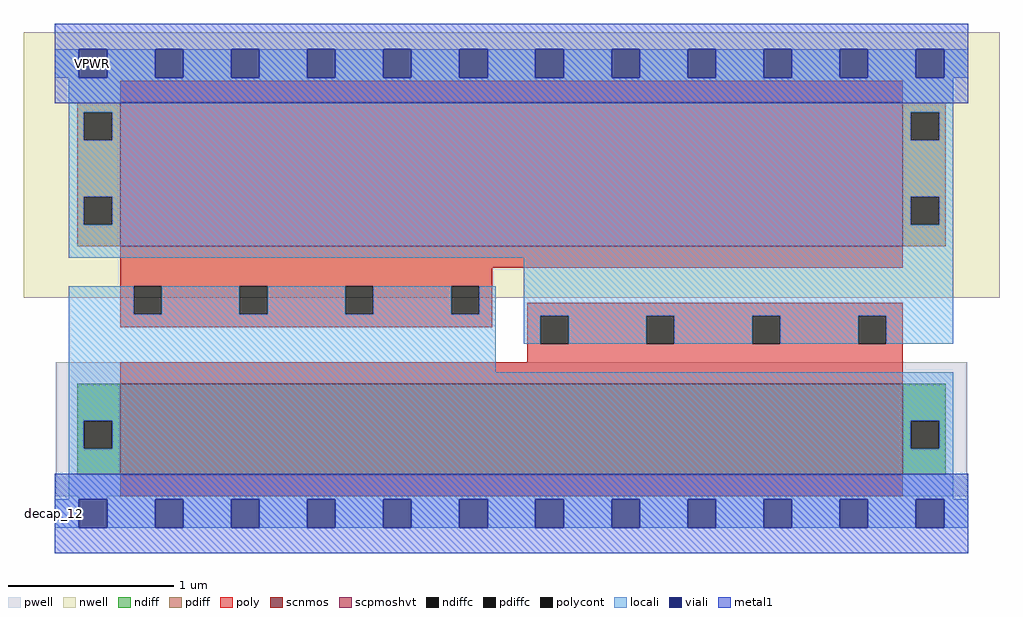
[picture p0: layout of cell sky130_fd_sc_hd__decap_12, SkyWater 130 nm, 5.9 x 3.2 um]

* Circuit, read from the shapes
.subckt sky130_fd_sc_hd__decap_12 VGND VPWR VPB VNB
XM1 VGND VPWR VGND VNB sky130_fd_pr__nfet_01v8 w=0.55 l=4.73
XM2 VPWR VGND VPWR VPB sky130_fd_pr__pfet_01v8_hvt w=0.87 l=4.73
.ends

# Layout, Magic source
magic
tech sky130B
magscale 1 2
<< nwell >>
rect -38 221 1142 542
<< pwell >>
rect 1 -19 1103 143
rect 29 -57 63 -19
<< scnmos >>
rect 79 7 1025 117
<< scpmoshvt >>
rect 79 283 1025 457
<< ndiff >>
rect 27 72 79 117
rect 27 38 35 72
rect 69 38 79 72
rect 27 7 79 38
rect 1025 72 1077 117
rect 1025 38 1035 72
rect 1069 38 1077 72
rect 1025 7 1077 38
<< pdiff >>
rect 27 445 79 457
rect 27 411 35 445
rect 69 411 79 445
rect 27 343 79 411
rect 27 309 35 343
rect 69 309 79 343
rect 27 283 79 309
rect 1025 445 1077 457
rect 1025 411 1035 445
rect 1069 411 1077 445
rect 1025 343 1077 411
rect 1025 309 1035 343
rect 1069 309 1077 343
rect 1025 283 1077 309
<< ndiffc >>
rect 35 38 69 72
rect 1035 38 1069 72
<< pdiffc >>
rect 35 411 69 445
rect 35 309 69 343
rect 1035 411 1069 445
rect 1035 309 1069 343
<< poly >>
rect 79 457 1025 483
rect 79 257 1025 283
rect 79 235 529 257
rect 79 201 95 235
rect 129 201 223 235
rect 257 201 351 235
rect 385 201 479 235
rect 513 201 529 235
rect 79 185 529 201
rect 571 199 1025 215
rect 571 165 587 199
rect 621 165 715 199
rect 749 165 843 199
rect 877 165 971 199
rect 1005 165 1025 199
rect 571 143 1025 165
rect 79 117 1025 143
rect 79 -19 1025 7
<< polycont >>
rect 95 201 129 235
rect 223 201 257 235
rect 351 201 385 235
rect 479 201 513 235
rect 587 165 621 199
rect 715 165 749 199
rect 843 165 877 199
rect 971 165 1005 199
<< locali >>
rect 0 487 29 521
rect 63 487 121 521
rect 155 487 213 521
rect 247 487 305 521
rect 339 487 397 521
rect 431 487 489 521
rect 523 487 581 521
rect 615 487 673 521
rect 707 487 765 521
rect 799 487 857 521
rect 891 487 949 521
rect 983 487 1041 521
rect 1075 487 1104 521
rect 17 445 1086 487
rect 17 411 35 445
rect 69 411 1035 445
rect 1069 411 1086 445
rect 17 343 1086 411
rect 17 309 35 343
rect 69 309 1035 343
rect 1069 309 1086 343
rect 17 269 1086 309
rect 17 201 95 235
rect 129 201 223 235
rect 257 201 351 235
rect 385 201 479 235
rect 513 201 533 235
rect 17 131 533 201
rect 567 199 1086 269
rect 567 165 587 199
rect 621 165 715 199
rect 749 165 843 199
rect 877 165 971 199
rect 1005 165 1086 199
rect 17 72 1086 131
rect 17 38 35 72
rect 69 38 1035 72
rect 1069 38 1086 72
rect 17 -23 1086 38
rect 0 -57 29 -23
rect 63 -57 121 -23
rect 155 -57 213 -23
rect 247 -57 305 -23
rect 339 -57 397 -23
rect 431 -57 489 -23
rect 523 -57 581 -23
rect 615 -57 673 -23
rect 707 -57 765 -23
rect 799 -57 857 -23
rect 891 -57 949 -23
rect 983 -57 1041 -23
rect 1075 -57 1104 -23
<< viali >>
rect 29 487 63 521
rect 121 487 155 521
rect 213 487 247 521
rect 305 487 339 521
rect 397 487 431 521
rect 489 487 523 521
rect 581 487 615 521
rect 673 487 707 521
rect 765 487 799 521
rect 857 487 891 521
rect 949 487 983 521
rect 1041 487 1075 521
rect 29 -57 63 -23
rect 121 -57 155 -23
rect 213 -57 247 -23
rect 305 -57 339 -23
rect 397 -57 431 -23
rect 489 -57 523 -23
rect 581 -57 615 -23
rect 673 -57 707 -23
rect 765 -57 799 -23
rect 857 -57 891 -23
rect 949 -57 983 -23
rect 1041 -57 1075 -23
<< metal1 >>
rect 0 521 1104 552
rect 0 487 29 521
rect 63 487 121 521
rect 155 487 213 521
rect 247 487 305 521
rect 339 487 397 521
rect 431 487 489 521
rect 523 487 581 521
rect 615 487 673 521
rect 707 487 765 521
rect 799 487 857 521
rect 891 487 949 521
rect 983 487 1041 521
rect 1075 487 1104 521
rect 0 456 1104 487
rect 0 -23 1104 8
rect 0 -57 29 -23
rect 63 -57 121 -23
rect 155 -57 213 -23
rect 247 -57 305 -23
rect 339 -57 397 -23
rect 431 -57 489 -23
rect 523 -57 581 -23
rect 615 -57 673 -23
rect 707 -57 765 -23
rect 799 -57 857 -23
rect 891 -57 949 -23
rect 983 -57 1041 -23
rect 1075 -57 1104 -23
rect 0 -88 1104 -57
<< labels >>
rlabel comment s 0 -40 0 -40 4 decap_12
flabel metal1 s 29 -57 63 -23 0 FreeSans 200 0 0 0 VGND
port 2 nsew
flabel metal1 s 29 487 63 521 0 FreeSans 200 0 0 0 VPWR
port 3 nsew
flabel nwell s 29 487 63 521 0 FreeSans 200 0 0 0 VPB
port 5 nsew
flabel pwell s 29 -57 63 -23 0 FreeSans 200 0 0 0 VNB
port 6 nsew
<< properties >>
string FIXED_BBOX 0 -40 1104 504
string path 0.000 -1.000 27.600 -1.000 
<< end >>
